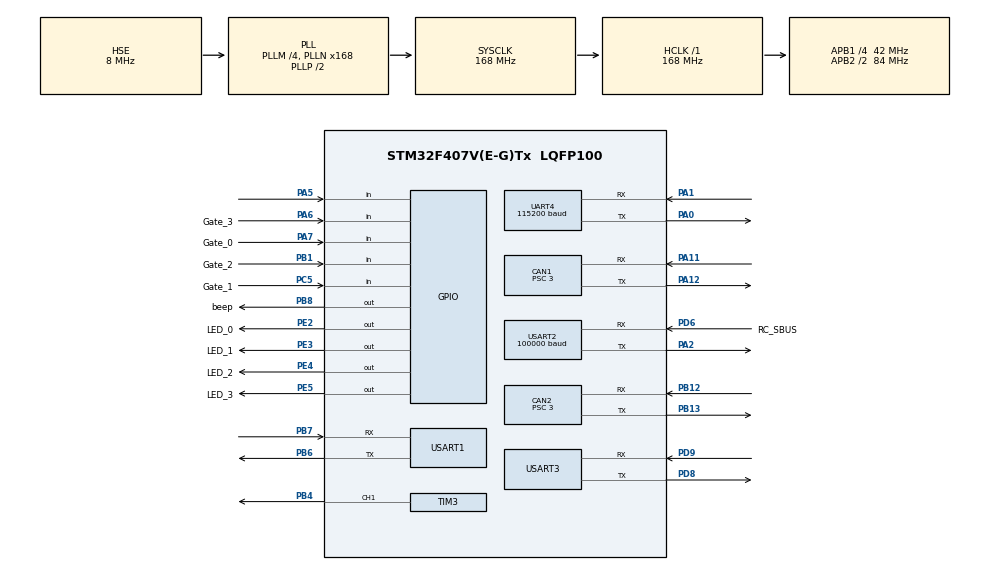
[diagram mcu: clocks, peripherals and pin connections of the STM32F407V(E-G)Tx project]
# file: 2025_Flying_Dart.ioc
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CAN1.BS1=CAN_BS1_7TQ
CAN1.BS2=CAN_BS2_6TQ
CAN1.CalculateBaudRate=1000000
CAN1.CalculateTimeBit=1000
CAN1.CalculateTimeQuantum=71.42857142857143
CAN1.Prescaler=3
CAN1.SJW=CAN_SJW_2TQ
CAN2.BS1=CAN_BS1_9TQ
CAN2.BS2=CAN_BS2_4TQ
CAN2.CalculateBaudRate=1000000
CAN2.CalculateTimeBit=1000
CAN2.CalculateTimeQuantum=71.42857142857143
CAN2.Prescaler=3
Dma.Request0=USART2_RX
Dma.Request1=USART3_RX
Dma.Request2=USART3_TX
Dma.Request3=UART4_RX
Dma.Request4=UART4_TX
Dma.Request5=USART1_RX
Dma.Request6=USART1_TX
Dma.UART4_RX.3.Direction=DMA_PERIPH_TO_MEMORY
Dma.UART4_RX.3.FIFOMode=DMA_FIFOMODE_DISABLE
Dma.UART4_RX.3.Instance=DMA1_Stream2
Dma.UART4_RX.3.MemDataAlignment=DMA_MDATAALIGN_BYTE
Dma.UART4_RX.3.MemInc=DMA_MINC_ENABLE
Dma.UART4_RX.3.Mode=DMA_NORMAL
Dma.UART4_RX.3.PeriphDataAlignment=DMA_PDATAALIGN_BYTE
Dma.UART4_RX.3.PeriphInc=DMA_PINC_DISABLE
Dma.UART4_RX.3.Priority=DMA_PRIORITY_LOW
Dma.UART4_TX.4.Direction=DMA_MEMORY_TO_PERIPH
Dma.UART4_TX.4.FIFOMode=DMA_FIFOMODE_DISABLE
Dma.UART4_TX.4.Instance=DMA1_Stream4
Dma.UART4_TX.4.MemDataAlignment=DMA_MDATAALIGN_BYTE
Dma.UART4_TX.4.MemInc=DMA_MINC_ENABLE
Dma.UART4_TX.4.Mode=DMA_NORMAL
Dma.UART4_TX.4.PeriphDataAlignment=DMA_PDATAALIGN_BYTE
Dma.UART4_TX.4.PeriphInc=DMA_PINC_DISABLE
Dma.UART4_TX.4.Priority=DMA_PRIORITY_LOW
Dma.USART1_RX.5.Direction=DMA_PERIPH_TO_MEMORY
Dma.USART1_RX.5.FIFOMode=DMA_FIFOMODE_DISABLE
Dma.USART1_RX.5.Instance=DMA2_Stream2
Dma.USART1_RX.5.MemDataAlignment=DMA_MDATAALIGN_BYTE
Dma.USART1_RX.5.MemInc=DMA_MINC_ENABLE
Dma.USART1_RX.5.Mode=DMA_NORMAL
Dma.USART1_RX.5.PeriphDataAlignment=DMA_PDATAALIGN_BYTE
Dma.USART1_RX.5.PeriphInc=DMA_PINC_DISABLE
Dma.USART1_RX.5.Priority=DMA_PRIORITY_LOW
Dma.USART1_TX.6.Direction=DMA_MEMORY_TO_PERIPH
Dma.USART1_TX.6.FIFOMode=DMA_FIFOMODE_DISABLE
Dma.USART1_TX.6.Instance=DMA2_Stream7
Dma.USART1_TX.6.MemDataAlignment=DMA_MDATAALIGN_BYTE
Dma.USART1_TX.6.MemInc=DMA_MINC_ENABLE
Dma.USART1_TX.6.Mode=DMA_NORMAL
Dma.USART1_TX.6.PeriphDataAlignment=DMA_PDATAALIGN_BYTE
Dma.USART1_TX.6.PeriphInc=DMA_PINC_DISABLE
Dma.USART1_TX.6.Priority=DMA_PRIORITY_LOW
Dma.USART2_RX.0.Direction=DMA_PERIPH_TO_MEMORY
Dma.USART2_RX.0.FIFOMode=DMA_FIFOMODE_DISABLE
Dma.USART2_RX.0.Instance=DMA1_Stream5
Dma.USART2_RX.0.MemDataAlignment=DMA_MDATAALIGN_BYTE
Dma.USART2_RX.0.MemInc=DMA_MINC_ENABLE
Dma.USART2_RX.0.Mode=DMA_NORMAL
Dma.USART2_RX.0.PeriphDataAlignment=DMA_PDATAALIGN_BYTE
Dma.USART2_RX.0.PeriphInc=DMA_PINC_DISABLE
Dma.USART2_RX.0.Priority=DMA_PRIORITY_LOW
Dma.USART3_RX.1.Direction=DMA_PERIPH_TO_MEMORY
Dma.USART3_RX.1.FIFOMode=DMA_FIFOMODE_DISABLE
Dma.USART3_RX.1.Instance=DMA1_Stream1
Dma.USART3_RX.1.MemDataAlignment=DMA_MDATAALIGN_BYTE
Dma.USART3_RX.1.MemInc=DMA_MINC_ENABLE
Dma.USART3_RX.1.Mode=DMA_NORMAL
Dma.USART3_RX.1.PeriphDataAlignment=DMA_PDATAALIGN_BYTE
Dma.USART3_RX.1.PeriphInc=DMA_PINC_DISABLE
Dma.USART3_RX.1.Priority=DMA_PRIORITY_LOW
Dma.USART3_TX.2.Direction=DMA_MEMORY_TO_PERIPH
Dma.USART3_TX.2.FIFOMode=DMA_FIFOMODE_DISABLE
Dma.USART3_TX.2.Instance=DMA1_Stream3
Dma.USART3_TX.2.MemDataAlignment=DMA_MDATAALIGN_BYTE
Dma.USART3_TX.2.MemInc=DMA_MINC_ENABLE
Dma.USART3_TX.2.Mode=DMA_NORMAL
Dma.USART3_TX.2.PeriphDataAlignment=DMA_PDATAALIGN_BYTE
Dma.USART3_TX.2.PeriphInc=DMA_PINC_DISABLE
Dma.USART3_TX.2.Priority=DMA_PRIORITY_LOW
FREERTOS.INCLUDE_vTaskDelayUntil=1
FREERTOS.Tasks01=defaultTask,0,128,StartDefaultTask,Default,NULL,Dynamic,NULL,NULL;_ControlTask,0,512,ControlTask,As weak,NULL,Dynamic,NULL,NULL;_debugTask,0,128,debugTask,As weak,NULL,Dynamic,NULL,NULL;_OLEDkeyboardTa,0,128,OLEDkeyboardTask,As weak,NULL,Dynamic,NULL,NULL
FREERTOS.configENABLE_FPU=1
Mcu.Family=STM32F4
Mcu.Name=STM32F407V(E-G)Tx
Mcu.Package=LQFP100
Mcu.UserConstants=huart_Referee,$$_USART3_IP_HANDLE_$$;huart_RC,$$_USART2_IP_HANDLE_$$;huart_Navigation,$$_UART4_IP_HANDLE_$$;huart_Vision,$$_USART1_IP_HANDLE_$$
NVIC.CAN1_RX0_IRQn=true\:5\:0\:false\:false\:true\:true\:true\:true\:true
NVIC.CAN2_RX0_IRQn=true\:5\:0\:false\:false\:true\:true\:true\:true\:true
NVIC.DMA1_Stream1_IRQn=true\:5\:0\:false\:false\:true\:true\:false\:true\:true
NVIC.DMA1_Stream2_IRQn=true\:5\:0\:false\:false\:true\:true\:false\:true\:true
NVIC.DMA1_Stream3_IRQn=true\:5\:0\:false\:false\:true\:true\:false\:true\:true
NVIC.DMA1_Stream4_IRQn=true\:5\:0\:false\:false\:true\:true\:false\:true\:true
NVIC.DMA1_Stream5_IRQn=true\:5\:0\:false\:false\:true\:true\:false\:true\:true
NVIC.DMA2_Stream2_IRQn=true\:5\:0\:false\:false\:true\:true\:false\:true\:true
NVIC.DMA2_Stream7_IRQn=true\:5\:0\:false\:false\:true\:true\:false\:true\:true
NVIC.PriorityGroup=NVIC_PRIORITYGROUP_4
NVIC.TIM6_DAC_IRQn=true\:5\:0\:false\:false\:true\:true\:true\:true\:true
NVIC.TIM7_IRQn=true\:15\:0\:false\:false\:true\:false\:false\:true\:true
NVIC.TimeBase=TIM7_IRQn
NVIC.TimeBaseIP=TIM7
NVIC.UART4_IRQn=true\:5\:0\:false\:false\:true\:true\:true\:true\:true
NVIC.USART1_IRQn=true\:5\:0\:false\:false\:true\:true\:true\:true\:true
NVIC.USART2_IRQn=true\:5\:0\:false\:false\:true\:true\:true\:true\:true
NVIC.USART3_IRQn=true\:5\:0\:false\:false\:true\:true\:true\:true\:true
PA0-WKUP.GPIO_PuPd=GPIO_PULLUP
PA0-WKUP.Mode=Asynchronous
PA0-WKUP.Signal=UART4_TX
PA1.GPIO_PuPd=GPIO_PULLUP
PA1.Mode=Asynchronous
PA1.Signal=UART4_RX
PA11.Mode=CAN_Activate
PA11.Signal=CAN1_RX
PA12.Mode=CAN_Activate
PA12.Signal=CAN1_TX
PA13.Mode=Serial_Wire
PA13.Signal=SYS_JTMS-SWDIO
PA14.Mode=Serial_Wire
PA14.Signal=SYS_JTCK-SWCLK
PA2.Mode=Asynchronous
PA2.Signal=USART2_TX
PA5.Signal=GPIO_Input
PA6.GPIO_Label=Gate_3
PA6.Signal=GPIO_Input
PA7.GPIO_Label=Gate_0
PA7.Signal=GPIO_Input
PB1.GPIO_Label=Gate_2
PB1.Signal=GPIO_Input
PB12.Mode=CAN_Activate
PB12.Signal=CAN2_RX
PB13.Mode=CAN_Activate
PB13.Signal=CAN2_TX
PB4.Signal=S_TIM3_CH1
PB6.Mode=Asynchronous
PB6.Signal=USART1_TX
PB7.Mode=Asynchronous
PB7.Signal=USART1_RX
PB8.GPIO_Label=beep
PB8.GPIO_Speed=GPIO_SPEED_FREQ_VERY_HIGH
PB8.Signal=GPIO_Output
PC5.GPIO_Label=Gate_1
PC5.Signal=GPIO_Input
PD6.GPIO_Label=RC_SBUS
PD6.Mode=Asynchronous
PD6.Signal=USART2_RX
PD8.Mode=Asynchronous
PD8.Signal=USART3_TX
PD9.Mode=Asynchronous
PD9.Signal=USART3_RX
PE2.GPIO_Label=LED_0
PE2.GPIO_Speed=GPIO_SPEED_FREQ_VERY_HIGH
PE2.Signal=GPIO_Output
PE3.GPIO_Label=LED_1
PE3.GPIO_Speed=GPIO_SPEED_FREQ_VERY_HIGH
PE3.Signal=GPIO_Output
PE4.GPIO_Label=LED_2
PE4.GPIO_Speed=GPIO_SPEED_FREQ_VERY_HIGH
PE4.Signal=GPIO_Output
PE5.GPIO_Label=LED_3
PE5.GPIO_Speed=GPIO_SPEED_FREQ_VERY_HIGH
PE5.Signal=GPIO_Output
PH0-OSC_IN.Mode=HSE-External-Oscillator
PH0-OSC_IN.Signal=RCC_OSC_IN
PH1-OSC_OUT.Mode=HSE-External-Oscillator
PH1-OSC_OUT.Signal=RCC_OSC_OUT
ProjectManager.HeapSize=0x200
ProjectManager.StackSize=0x400
ProjectManager.TargetToolchain=MDK-ARM V5.32
RCC.48MHZClocksFreq_Value=84000000
RCC.AHBFreq_Value=168000000
RCC.APB1CLKDivider=RCC_HCLK_DIV4
RCC.APB1Freq_Value=42000000
RCC.APB1TimFreq_Value=84000000
RCC.APB2CLKDivider=RCC_HCLK_DIV2
RCC.APB2Freq_Value=84000000
RCC.APB2TimFreq_Value=168000000
RCC.CortexFreq_Value=168000000
RCC.HCLKFreq_Value=168000000
RCC.HSE_VALUE=8000000
RCC.HSI_VALUE=16000000
RCC.LSE_VALUE=32768
RCC.PLLM=4
RCC.PLLN=168
RCC.PLLSourceVirtual=RCC_PLLSOURCE_HSE
RCC.SYSCLKFreq_VALUE=168000000
RCC.SYSCLKSource=RCC_SYSCLKSOURCE_PLLCLK
RCC.VCOOutputFreq_Value=336000000
RTC.AsynchPrediv=100-1
RTC.Date=17
RTC.Month=RTC_MONTH_FEBRUARY
RTC.SynchPrediv=5000-1
RTC.WeekDay=RTC_WEEKDAY_SATURDAY
RTC.Year=24
SH.S_TIM3_CH1.0=TIM3_CH1,PWM Generation1 CH1
TIM10.Prescaler=(168 - 1)
TIM3.AutoReloadPreload=TIM_AUTORELOAD_PRELOAD_ENABLE
TIM3.Channel-PWM\ Generation1\ CH1=TIM_CHANNEL_1
TIM3.Period=10000-1
TIM3.Prescaler=168-1
TIM6.Period=1000-1
TIM6.Prescaler=84-1
UART4.BaudRate=115200
UART4.VirtualMode=Asynchronous
USART1.VirtualMode=VM_ASYNC
USART2.BaudRate=100000
USART2.Mode=MODE_RX
USART2.Parity=PARITY_ODD
USART2.VirtualMode=VM_ASYNC
USART3.VirtualMode=VM_ASYNC
VP_CRC_VS_CRC.Mode=CRC_Activate
VP_FREERTOS_VS_CMSIS_V1.Mode=CMSIS_V1
VP_RTC_VS_RTC_Activate.Mode=RTC_Enabled
VP_RTC_VS_RTC_Calendar.Mode=RTC_Calendar
VP_SYS_VS_tim7.Mode=TIM7
VP_TIM10_VS_ClockSourceINT.Mode=Enable_Timer
VP_TIM11_VS_ClockSourceINT.Mode=Enable_Timer
VP_TIM3_VS_ClockSourceINT.Mode=Internal
VP_TIM6_VS_ClockSourceINT.Mode=Enable_Timer
board=custom

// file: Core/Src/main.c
/* USER CODE BEGIN Header */
/**
  ******************************************************************************
  * @file           : main.c
  * @brief          : Main program body
  ******************************************************************************
  * @attention
  *
  * Copyright (c) 2023 STMicroelectronics.
  * All rights reserved.
  *
  * This software is licensed under terms that can be found in the LICENSE file
  * in the root directory of this software component.
  * If no LICENSE file comes with this software, it is provided AS-IS.
  *
  ******************************************************************************
  */
/* USER CODE END Header */
#include "main.h"
#include "cmsis_os.h"
#include "can.h"
#include "crc.h"
#include "dma.h"
#include "rtc.h"
#include "tim.h"
#include "usart.h"
#include "gpio.h"

/* USER CODE BEGIN Includes */
#include "headfiles.h"
/* USER CODE END Includes */

void SystemClock_Config(void);
void MX_FREERTOS_Init(void);

int main(void)
{

  /* MCU Configuration--------------------------------------------------------*/

  /* Reset of all peripherals, Initializes the Flash interface and the Systick. */
  HAL_Init();

  /* Configure the system clock */
  SystemClock_Config();

  /* Initialize all configured peripherals */
  MX_GPIO_Init();
  MX_DMA_Init();
  MX_CAN1_Init();
  MX_CAN2_Init();
  MX_USART3_UART_Init();
  MX_USART2_UART_Init();
  MX_TIM6_Init();
  MX_UART4_Init();
  MX_CRC_Init();
  MX_TIM10_Init();
  MX_TIM11_Init();
  MX_RTC_Init();
  MX_TIM3_Init();
  MX_USART1_UART_Init();
  /* USER CODE BEGIN 2 */

	HAL_TIM_Base_Start_IT(&htim10);

	CtrlHandle_Init(&hCtrl);

    Motor_HandleInit();
    can_filter_init();              // CAN滤波初始化
    remote_control_init();          // 遥控器初始化
	referee_usart_init();			// 裁判系统初始化
	Vision_Init();					// 视觉串口初始化

    Device_MonitoringInit(
		DeviceID_DR16,
		DeviceID_VisionNUC,
		DeviceID_Referee,
		DeviceID_Lift,
		DeviceID_Yaw,
		DeviceID_Small_Fric,
		DeviceID_Pull_Spring_Left,
		DeviceID_Pull_Spring_Right,
		DeviceID_Move_Trigger,
		DeviceID_Fric_Left,
		DeviceID_Fric_Right,
		DeviceID_Load
    );

	//����
	OLEDkeyboard_Config();

  /* USER CODE END 2 */

  /* Call init function for freertos objects (in freertos.c) */
  MX_FREERTOS_Init();

  /* Start scheduler */
  osKernelStart();

  /* We should never get here as control is now taken by the scheduler */
  /* Infinite loop */
  /* USER CODE BEGIN WHILE */
  while (1)
  {
      HAL_Delay(1);

    /* USER CODE END WHILE */

  }
}

void SystemClock_Config(void)
{
  RCC_OscInitTypeDef RCC_OscInitStruct = {0};
  RCC_ClkInitTypeDef RCC_ClkInitStruct = {0};

  /** Configure the main internal regulator output voltage
  */
  __HAL_RCC_PWR_CLK_ENABLE();
  __HAL_PWR_VOLTAGESCALING_CONFIG(PWR_REGULATOR_VOLTAGE_SCALE1);

  /** Initializes the RCC Oscillators according to the specified parameters
  * in the RCC_OscInitTypeDef structure.
  */
  RCC_OscInitStruct.OscillatorType = RCC_OSCILLATORTYPE_LSI|RCC_OSCILLATORTYPE_HSE;
  RCC_OscInitStruct.HSEState = RCC_HSE_ON;
  RCC_OscInitStruct.LSIState = RCC_LSI_ON;
  RCC_OscInitStruct.PLL.PLLState = RCC_PLL_ON;
  RCC_OscInitStruct.PLL.PLLSource = RCC_PLLSOURCE_HSE;
  RCC_OscInitStruct.PLL.PLLM = 4;
  RCC_OscInitStruct.PLL.PLLN = 168;
  RCC_OscInitStruct.PLL.PLLP = RCC_PLLP_DIV2;
  RCC_OscInitStruct.PLL.PLLQ = 4;
  if (HAL_RCC_OscConfig(&RCC_OscInitStruct) != HAL_OK)
  {
    Error_Handler();
  }

  /** Initializes the CPU, AHB and APB buses clocks
  */
  RCC_ClkInitStruct.ClockType = RCC_CLOCKTYPE_HCLK|RCC_CLOCKTYPE_SYSCLK
                              |RCC_CLOCKTYPE_PCLK1|RCC_CLOCKTYPE_PCLK2;
  RCC_ClkInitStruct.SYSCLKSource = RCC_SYSCLKSOURCE_PLLCLK;
  RCC_ClkInitStruct.AHBCLKDivider = RCC_SYSCLK_DIV1;
  RCC_ClkInitStruct.APB1CLKDivider = RCC_HCLK_DIV4;
  RCC_ClkInitStruct.APB2CLKDivider = RCC_HCLK_DIV2;

  if (HAL_RCC_ClockConfig(&RCC_ClkInitStruct, FLASH_LATENCY_5) != HAL_OK)
  {
    Error_Handler();
  }
}

/* USER CODE BEGIN 4 */
int icm_flag = 0;
/* USER CODE END 4 */

void HAL_TIM_PeriodElapsedCallback(TIM_HandleTypeDef *htim)
{
  /* USER CODE BEGIN Callback 0 */
    if (htim->Instance == TIM7)
    {
        Device_OnlineCheck_ALL();

		// ����ϵͳ����Ĭ���ڱ���ģʽ
//		if(Device_GetState(DeviceID_Referee) == DeviceState_Offline)
//        {
//			GameState.game_progress = 4;
//        }

    }
  /* USER CODE END Callback 0 */
  if (htim->Instance == TIM7) {
    HAL_IncTick();
  }
  /* USER CODE BEGIN Callback 1 */
  if(&htim6 == htim)  //1ms
  {
      icm_flag++;
  }
  /* USER CODE END Callback 1 */
}

void Error_Handler(void)
{
  __disable_irq();
  while (1)
  {
  }
}

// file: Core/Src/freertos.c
/* USER CODE BEGIN Header */
/**
  ******************************************************************************
  * File Name          : freertos.c
  * Description        : Code for freertos applications
  ******************************************************************************
  * @attention
  *
  * Copyright (c) 2023 STMicroelectronics.
  * All rights reserved.
  *
  * This software is licensed under terms that can be found in the LICENSE file
  * in the root directory of this software component.
  * If no LICENSE file comes with this software, it is provided AS-IS.
  *
  ******************************************************************************
  */
/* USER CODE END Header */

#include "FreeRTOS.h"
#include "task.h"
#include "main.h"
#include "cmsis_os.h"

osThreadId defaultTaskHandle;
osThreadId _ControlTaskHandle;
osThreadId _debugTaskHandle;
osThreadId _OLEDkeyboardTaHandle;

void StartDefaultTask(void const * argument);
void ControlTask(void const * argument);
void debugTask(void const * argument);
void OLEDkeyboardTask(void const * argument);

void MX_FREERTOS_Init(void); /* (MISRA C 2004 rule 8.1) */

/* GetIdleTaskMemory prototype (linked to static allocation support) */
void vApplicationGetIdleTaskMemory( StaticTask_t **ppxIdleTaskTCBBuffer, StackType_t **ppxIdleTaskStackBuffer, uint32_t *pulIdleTaskStackSize );

/* USER CODE BEGIN GET_IDLE_TASK_MEMORY */
static StaticTask_t xIdleTaskTCBBuffer;
static StackType_t xIdleStack[configMINIMAL_STACK_SIZE];

void vApplicationGetIdleTaskMemory( StaticTask_t **ppxIdleTaskTCBBuffer, StackType_t **ppxIdleTaskStackBuffer, uint32_t *pulIdleTaskStackSize )
{
  *ppxIdleTaskTCBBuffer = &xIdleTaskTCBBuffer;
  *ppxIdleTaskStackBuffer = &xIdleStack[0];
  *pulIdleTaskStackSize = configMINIMAL_STACK_SIZE;
  /* place for user code */
}
/* USER CODE END GET_IDLE_TASK_MEMORY */

void MX_FREERTOS_Init(void) {

  /* Create the thread(s) */
  /* definition and creation of defaultTask */
  osThreadDef(defaultTask, StartDefaultTask, osPriorityNormal, 0, 128);
  defaultTaskHandle = osThreadCreate(osThread(defaultTask), NULL);

  /* definition and creation of _ControlTask */
  osThreadDef(_ControlTask, ControlTask, osPriorityNormal, 0, 512);
  _ControlTaskHandle = osThreadCreate(osThread(_ControlTask), NULL);

  /* definition and creation of _debugTask */
  osThreadDef(_debugTask, debugTask, osPriorityNormal, 0, 128);
  _debugTaskHandle = osThreadCreate(osThread(_debugTask), NULL);

  /* definition and creation of _OLEDkeyboardTa */
  osThreadDef(_OLEDkeyboardTa, OLEDkeyboardTask, osPriorityNormal, 0, 128);
  _OLEDkeyboardTaHandle = osThreadCreate(osThread(_OLEDkeyboardTa), NULL);

}

void StartDefaultTask(void const * argument)
{
  for(;;)
  {
    osDelay(1);
  }
}

__weak void ControlTask(void const * argument)
{
  for(;;)
  {
    osDelay(1);
  }
}

__weak void debugTask(void const * argument)
{
  for(;;)
  {
    osDelay(1);
  }
}

__weak void OLEDkeyboardTask(void const * argument)
{
  for(;;)
  {
    osDelay(1);
  }
}
